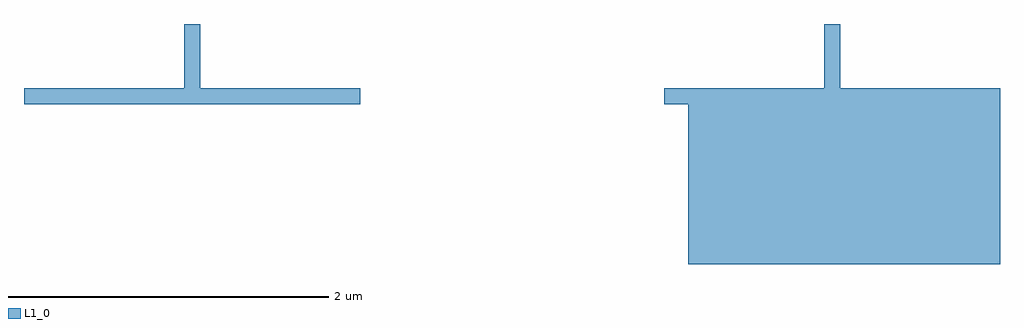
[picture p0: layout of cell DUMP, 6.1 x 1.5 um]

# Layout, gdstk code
import gdstk
lib = gdstk.Library(unit=1e-6, precision=1e-09)
def R(c, l, rs):  # rectangles x0, y0, x1, y1
    for r in rs: c.add(gdstk.rectangle(r[:2], r[2:], *l))
def P(c, l, *ps):  # polygons
    for p in ps: c.add(gdstk.Polygon(p, *l))
L1_0 = (1, 0)
L10_0 = (10, 0)

dump = lib.new_cell('DUMP')
R(dump, L1_0, [(0,0,1,0.1), (4,0,4.15,0.1), (5,0.1,5.1,0.5)])
P(dump, L1_0, [(4.15,-1),(4.15,0),(4.15,0.1),(5,0.1),(5.1,0.1),(6.1,0.1),(6.1,-1),(5.1,-1),(5,-1)],
  [(1,0),(1,0.1),(1,0.5),(1.1,0.5),(1.1,0.1),(1.1,0)],
  [(1.1,0),(1.1,0.1),(2.1,0.1),(2.1,0),(1.286,0)])
dump.add(gdstk.FlexPath([(0,0),(0,0.1)], 0, ends="flush", simple_path=True, layer=10, datatype=0))  # L10_0
dump.add(gdstk.FlexPath([(0,0.1),(1,0.1)], 0, ends="flush", simple_path=True, layer=10, datatype=0))  # L10_0
dump.add(gdstk.FlexPath([(1,0.5),(1,0.1)], 0, ends="flush", simple_path=True, layer=10, datatype=0))  # L10_0
dump.add(gdstk.FlexPath([(1.1,0.5),(1,0.5)], 0, ends="flush", simple_path=True, layer=10, datatype=0))  # L10_0
dump.add(gdstk.FlexPath([(1.1,0.1),(1.1,0.5)], 0, ends="flush", simple_path=True, layer=10, datatype=0))  # L10_0
dump.add(gdstk.FlexPath([(4.15,0),(4.15,-1)], 0, ends="flush", simple_path=True, layer=10, datatype=0))  # L10_0
dump.add(gdstk.FlexPath([(2.1,0.1),(1.1,0.1)], 0, ends="flush", simple_path=True, layer=10, datatype=0))  # L10_0
dump.add(gdstk.FlexPath([(1.286,0),(2.1,0)], 0, ends="flush", simple_path=True, layer=10, datatype=0))  # L10_0
dump.add(gdstk.FlexPath([(2.1,0),(2.1,0.1)], 0, ends="flush", simple_path=True, layer=10, datatype=0))  # L10_0
dump.add(gdstk.FlexPath([(4.15,0),(4,0)], 0, ends="flush", simple_path=True, layer=10, datatype=0))  # L10_0
dump.add(gdstk.FlexPath([(4,0.1),(4,0)], 0, ends="flush", simple_path=True, layer=10, datatype=0))  # L10_0
dump.add(gdstk.FlexPath([(6.1,-1),(5.1,-1)], 0, ends="flush", simple_path=True, layer=10, datatype=0))  # L10_0
dump.add(gdstk.FlexPath([(5.1,0.5),(5,0.5)], 0, ends="flush", simple_path=True, layer=10, datatype=0))  # L10_0
dump.add(gdstk.FlexPath([(0,0),(1,0)], 0, ends="flush", simple_path=True, layer=10, datatype=0))  # L10_0
dump.add(gdstk.FlexPath([(5,0.5),(5,0.1)], 0, ends="flush", simple_path=True, layer=10, datatype=0))  # L10_0
dump.add(gdstk.FlexPath([(5.1,0.1),(5.1,0.5)], 0, ends="flush", simple_path=True, layer=10, datatype=0))  # L10_0
dump.add(gdstk.FlexPath([(6.1,0.1),(5.1,0.1)], 0, ends="flush", simple_path=True, layer=10, datatype=0))  # L10_0
dump.add(gdstk.FlexPath([(1.286,0),(1.1,0)], 0, ends="flush", simple_path=True, layer=10, datatype=0))  # L10_0
dump.add(gdstk.FlexPath([(6.1,-1),(6.1,0.1)], 0, ends="flush", simple_path=True, layer=10, datatype=0))  # L10_0
dump.add(gdstk.FlexPath([(4.15,-1),(5,-1)], 0, ends="flush", simple_path=True, layer=10, datatype=0))  # L10_0
dump.add(gdstk.FlexPath([(5,-1),(5.1,-1)], 0, ends="flush", simple_path=True, layer=10, datatype=0))  # L10_0
dump.add(gdstk.FlexPath([(5,0.1),(4.15,0.1)], 0, ends="flush", simple_path=True, layer=10, datatype=0))  # L10_0
dump.add(gdstk.FlexPath([(1,0),(1.1,0)], 0, ends="flush", simple_path=True, layer=10, datatype=0))  # L10_0
dump.add(gdstk.FlexPath([(4,0.1),(4.15,0.1)], 0, ends="flush", simple_path=True, layer=10, datatype=0))  # L10_0

lib.write_gds('DUMP.gds')
